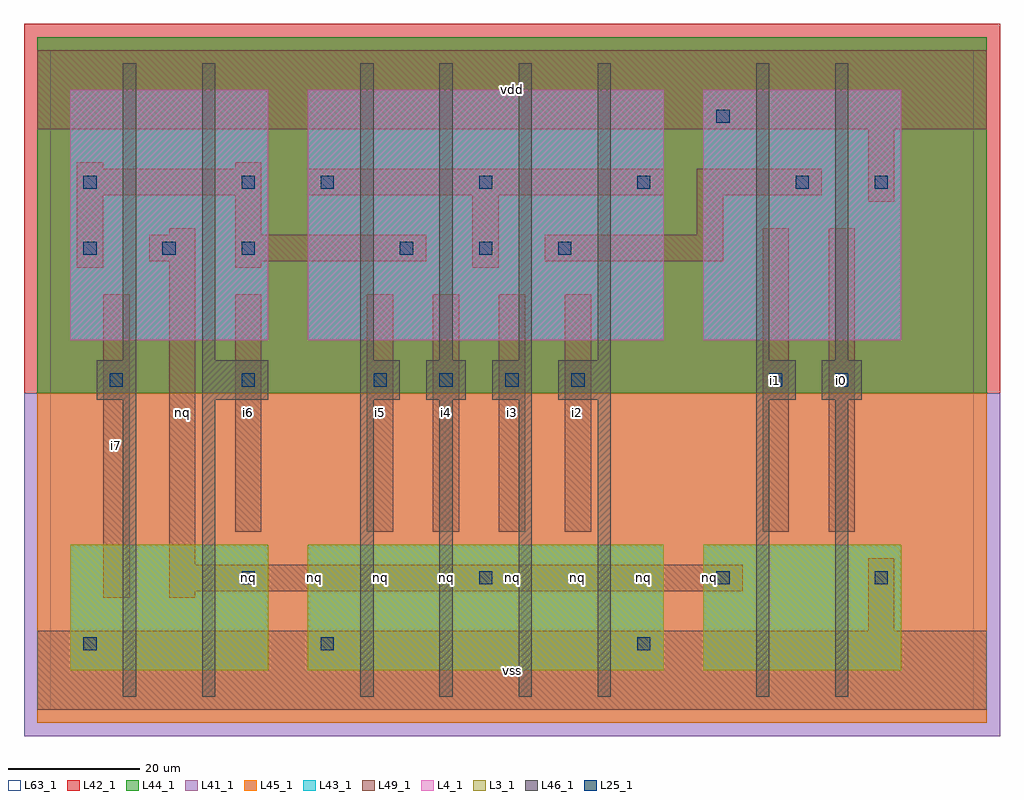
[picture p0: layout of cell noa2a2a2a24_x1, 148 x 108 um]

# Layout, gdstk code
import gdstk
lib = gdstk.Library(unit=1e-6, precision=1e-09)
def R(c, l, rs):  # rectangles x0, y0, x1, y1
    for r in rs: c.add(gdstk.rectangle(r[:2], r[2:], *l))
def A(c, l, x, y, w, h, nx, ny, dx, dy):  # array of equal rectangles
    R(c, l, [(x+i*dx, y+j*dy, x+i*dx+w, y+j*dy+h) for i in range(nx) for j in range(ny)])
L3_1 = (3, 1)
L4_1 = (4, 1)
L25_1 = (25, 1)
L41_1 = (41, 1)
L42_1 = (42, 1)
L43_1 = (43, 1)
L44_1 = (44, 1)
L45_1 = (45, 1)
L46_1 = (46, 1)
L49_1 = (49, 1)
L63_1 = (63, 1)

noa2a2a2a24_x1 = lib.new_cell('noa2a2a2a24_x1')
R(noa2a2a2a24_x1, L3_1, [(3,6,33,25), (39,6,93,25), (99,6,129,25)])
R(noa2a2a2a24_x1, L4_1, [(3,56,33,94), (39,56,93,94), (99,56,129,94)])
A(noa2a2a2a24_x1, L25_1, 29, 19, 2, 2, 3, 1, 36, 0)
A(noa2a2a2a24_x1, L25_1, 9, 49, 2, 2, 3, 1, 20, 0)
A(noa2a2a2a24_x1, L25_1, 59, 49, 2, 2, 3, 1, 10, 0)
A(noa2a2a2a24_x1, L25_1, 5, 69, 2, 2, 3, 1, 12, 0)
A(noa2a2a2a24_x1, L25_1, 53, 69, 2, 2, 3, 1, 12, 0)
A(noa2a2a2a24_x1, L25_1, 41, 79, 2, 2, 4, 1, 24, 0)
R(noa2a2a2a24_x1, L25_1, [(5,9,7,11), (41,9,43,11), (89,9,91,11), (125,19,127,21), (109,49,111,51), (119,49,121,51), (5,79,7,81), (29,79,31,81), (125,79,127,81), (101,89,103,91)])
R(noa2a2a2a24_x1, L41_1, [(-4,-4,144,48)])
R(noa2a2a2a24_x1, L42_1, [(-4,48,144,104)])
R(noa2a2a2a24_x1, L43_1, [(3,6,33,25), (39,6,93,25), (99,6,129,25), (3,56,33,94), (39,56,93,94), (99,56,129,94)])
R(noa2a2a2a24_x1, L44_1, [(-2,48,142,102)])
R(noa2a2a2a24_x1, L45_1, [(-2,-2,142,48)])
A(noa2a2a2a24_x1, L46_1, 47, 2, 2, 45, 4, 2, 12, 51)
A(noa2a2a2a24_x1, L46_1, 47, 47, 6, 6, 3, 1, 10, 0)
R(noa2a2a2a24_x1, L46_1, [(11,2,13,47), (23,2,25,47), (107,2,109,47), (119,2,121,47), (7,47,13,53), (23,47,33,53), (77,47,85,53), (107,47,113,53), (117,47,123,53), (11,53,13,98), (23,53,25,98), (107,53,109,98), (119,53,121,98)])
A(noa2a2a2a24_x1, L49_1, 48, 27, 4, 36, 4, 1, 10, 0)
R(noa2a2a2a24_x1, L49_1, [(-2,0,142,12), (124,12,128,23), (8,17,12,63), (18,17,22,18), (18,18,105,22), (18,22,22,68), (28,27,32,63), (108,27,112,73), (118,27,122,73), (4,67,8,78), (28,67,32,68), (64,67,68,78), (15,68,22,72), (28,68,57,72), (75,68,102,72), (18,72,22,73), (28,72,32,78), (98,72,102,78), (124,77,128,88), (4,78,32,82), (39,78,93,82), (98,78,117,82), (4,82,8,83), (28,82,32,83), (-2,88,142,100)])
R(noa2a2a2a24_x1, L63_1, [(0,0,140,100)])
noa2a2a2a24_x1.add(gdstk.Label('i7', (10,40), layer=49, texttype=1))
noa2a2a2a24_x1.add(gdstk.Label('nq', (20,45), layer=49, texttype=1))
noa2a2a2a24_x1.add(gdstk.Label('nq', (40,20), layer=49, texttype=1))
noa2a2a2a24_x1.add(gdstk.Label('nq', (50,20), layer=49, texttype=1))
noa2a2a2a24_x1.add(gdstk.Label('nq', (30,20), layer=49, texttype=1))
noa2a2a2a24_x1.add(gdstk.Label('i6', (30,45), layer=49, texttype=1))
noa2a2a2a24_x1.add(gdstk.Label('i5', (50,45), layer=49, texttype=1))
noa2a2a2a24_x1.add(gdstk.Label('vss', (70,6), layer=49, texttype=1))
noa2a2a2a24_x1.add(gdstk.Label('nq', (60,20), layer=49, texttype=1))
noa2a2a2a24_x1.add(gdstk.Label('nq', (70,20), layer=49, texttype=1))
noa2a2a2a24_x1.add(gdstk.Label('nq', (80,20), layer=49, texttype=1))
noa2a2a2a24_x1.add(gdstk.Label('i2', (80,45), layer=49, texttype=1))
noa2a2a2a24_x1.add(gdstk.Label('i3', (70,45), layer=49, texttype=1))
noa2a2a2a24_x1.add(gdstk.Label('i4', (60,45), layer=49, texttype=1))
noa2a2a2a24_x1.add(gdstk.Label('vdd', (70,94), layer=49, texttype=1))
noa2a2a2a24_x1.add(gdstk.Label('nq', (90,20), layer=49, texttype=1))
noa2a2a2a24_x1.add(gdstk.Label('nq', (100,20), layer=49, texttype=1))
noa2a2a2a24_x1.add(gdstk.Label('i1', (110,50), layer=49, texttype=1))
noa2a2a2a24_x1.add(gdstk.Label('i0', (120,50), layer=49, texttype=1))

lib.write_gds('noa2a2a2a24_x1.gds')
